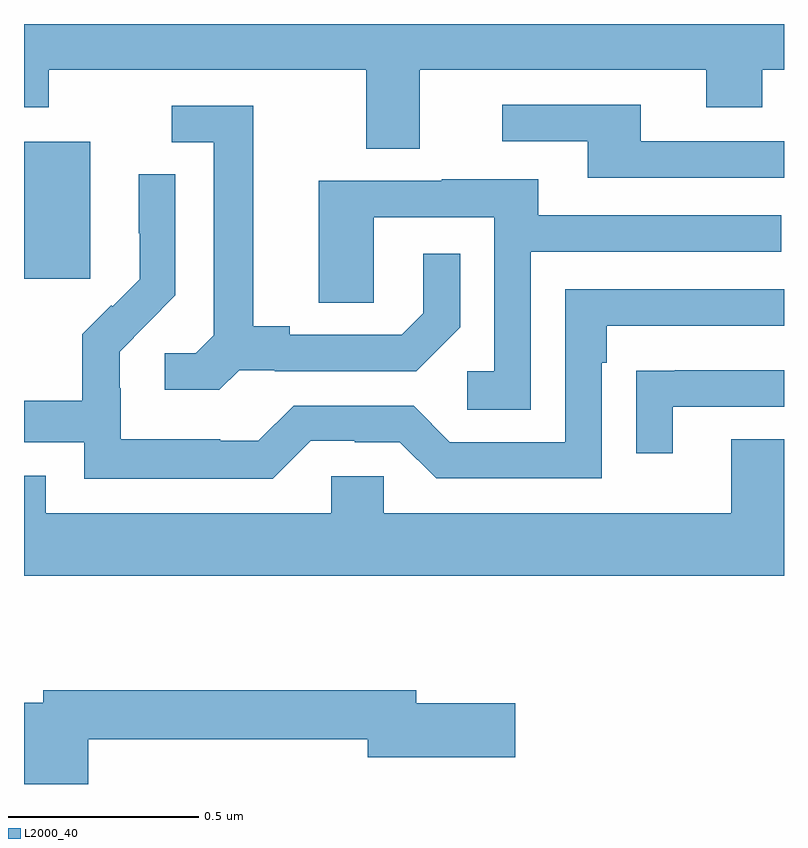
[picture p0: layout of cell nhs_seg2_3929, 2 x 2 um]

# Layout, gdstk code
import gdstk
lib = gdstk.Library(unit=1e-6, precision=1e-09)
def R(c, l, rs):  # rectangles x0, y0, x1, y1
    for r in rs: c.add(gdstk.rectangle(r[:2], r[2:], *l))
def P(c, l, *ps):  # polygons
    for p in ps: c.add(gdstk.Polygon(p, *l))
L2000_40 = (2000, 40)

nhs_seg2_3929 = lib.new_cell('nhs_seg2_3929')
R(nhs_seg2_3929, L2000_40, [(160,603.129,160.174,603.49)])
P(nhs_seg2_3929, L2000_40, [(161.041,603.68),(161.795,603.68),(161.795,603.581),(161.943,603.581),(161.943,603.68),(162,603.68),(162,603.8),(160,603.8),(160,603.581),(160.065,603.581),(160.065,603.68),(160.901,603.68),(160.901,603.472),(161.041,603.472)],
  [(162,603.492),(161.623,603.492),(161.623,603.588),(161.259,603.588),(161.259,603.492),(161.483,603.492),(161.483,603.396),(162,603.396)],
  [(160.566,602.889),(160.66,602.889),(160.66,602.886),(161.032,602.886),(161.148,603.002),(161.148,603.196),(161.051,603.196),(161.051,603.039),(160.994,602.982),(160.699,602.982),(160.699,603.005),(160.603,603.005),(160.603,603.585),(160.389,603.585),(160.389,603.489),(160.499,603.489),(160.499,602.981),(160.452,602.934),(160.371,602.934),(160.371,602.837),(160.514,602.837)],
  [(160.755,602.703),(160.871,602.703),(160.871,602.7),(160.989,602.7),(161.085,602.604),(161.52,602.604),(161.52,602.909),(161.533,602.909),(161.533,603.006),(162,603.006),(162,603.102),(161.424,603.102),(161.424,602.7),(161.121,602.7),(161.025,602.796),(160.71,602.796),(160.617,602.703),(160.517,602.703),(160.517,602.707),(160.254,602.707),(160.254,602.841),(160.252,602.841),(160.252,602.938),(160.326,603.012),(160.325,603.013),(160.398,603.086),(160.398,603.404),(160.302,603.404),(160.302,603.25),(160.304,603.25),(160.304,603.128),(160.233,603.057),(160.23,603.06),(160.153,602.983),(160.153,602.809),(160,602.809),(160,602.7),(160.158,602.7),(160.158,602.603),(160.655,602.603)],
  [(161.334,603.201),(161.993,603.201),(161.993,603.297),(161.353,603.297),(161.353,603.391),(161.099,603.391),(161.099,603.387),(160.775,603.387),(160.775,603.067),(160.92,603.067),(160.92,603.291),(161.238,603.291),(161.238,602.886),(161.166,602.886),(161.166,602.785),(161.334,602.785)],
  [(161.707,602.793),(162,602.793),(162,602.889),(161.713,602.889),(161.713,602.888),(161.611,602.888),(161.611,602.67),(161.707,602.67)],
  [(162,602.707),(161.861,602.707),(161.861,602.512),(160.947,602.512),(160.947,602.61),(160.809,602.61),(160.809,602.512),(160.057,602.512),(160.057,602.611),(160,602.611),(160,602.348),(162,602.348)],
  [(160.169,601.918),(160.904,601.918),(160.904,601.871),(161.293,601.871),(161.293,602.013),(161.032,602.013),(161.032,602.047),(160.05,602.047),(160.05,602.014),(160,602.014),(160,601.8),(160.169,601.8)])

lib.write_gds('nhs_seg2_3929.gds')
